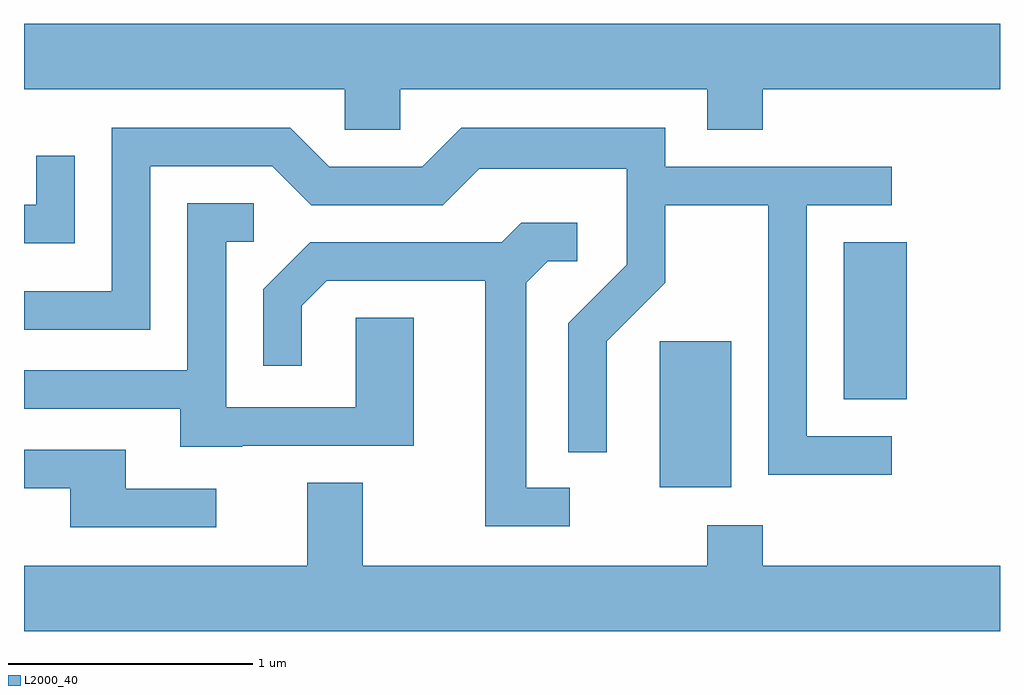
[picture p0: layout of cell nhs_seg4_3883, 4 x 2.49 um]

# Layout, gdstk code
import gdstk
lib = gdstk.Library(unit=1e-6, precision=1e-09)
def R(c, l, rs):  # rectangles x0, y0, x1, y1
    for r in rs: c.add(gdstk.rectangle(r[:2], r[2:], *l))
def P(c, l, *ps):  # polygons
    for p in ps: c.add(gdstk.Polygon(p, *l))
L2000_40 = (2000, 40)

nhs_seg4_3883 = lib.new_cell('nhs_seg4_3883')
R(nhs_seg4_3883, L2000_40, [(302.216,1268.686,302.509,1269.284), (302.971,1269.046,303.229,1269.689)])
P(nhs_seg4_3883, L2000_40, [(301.154,1270.316),(302.411,1270.316),(302.411,1270.151),(302.639,1270.151),(302.639,1270.316),(303.611,1270.316),(303.611,1270.584),(299.611,1270.584),(299.611,1270.316),(300.926,1270.316),(300.926,1270.151),(301.154,1270.151)],
  [(303.168,1268.894),(302.819,1268.894),(302.819,1269.841),(303.168,1269.841),(303.168,1269.999),(302.239,1269.999),(302.239,1270.159),(301.404,1270.159),(301.244,1269.999),(300.862,1269.999),(300.702,1270.159),(299.971,1270.159),(299.971,1269.489),(299.611,1269.489),(299.611,1269.331),(300.129,1269.331),(300.129,1270.001),(300.629,1270.001),(300.789,1269.841),(301.327,1269.841),(301.477,1269.991),(302.081,1269.991),(302.081,1269.597),(301.841,1269.357),(301.841,1268.828),(301.999,1268.828),(301.999,1269.284),(302.239,1269.524),(302.239,1269.841),(302.661,1269.841),(302.661,1268.736),(303.168,1268.736)],
  [(299.819,1270.043),(299.661,1270.043),(299.661,1269.844),(299.611,1269.844),(299.611,1269.686),(299.819,1269.686)],
  [(300.505,1268.856),(301.209,1268.856),(301.209,1269.379),(300.971,1269.379),(300.971,1269.014),(300.439,1269.014),(300.439,1269.691),(300.553,1269.691),(300.553,1269.849),(300.281,1269.849),(300.281,1269.164),(299.611,1269.164),(299.611,1269.006),(300.251,1269.006),(300.251,1268.851),(300.505,1268.851)],
  [(301.848,1268.684),(301.669,1268.684),(301.669,1269.524),(301.757,1269.611),(301.878,1269.611),(301.878,1269.769),(301.649,1269.769),(301.569,1269.689),(300.784,1269.689),(300.591,1269.497),(300.591,1269.183),(300.749,1269.183),(300.749,1269.429),(300.852,1269.531),(301.501,1269.531),(301.501,1268.526),(301.848,1268.526)],
  [(300.398,1268.679),(300.029,1268.679),(300.029,1268.839),(299.611,1268.839),(299.611,1268.681),(299.801,1268.681),(299.801,1268.521),(300.398,1268.521)],
  [(303.611,1268.364),(302.639,1268.364),(302.639,1268.529),(302.411,1268.529),(302.411,1268.364),(300.999,1268.364),(300.999,1268.704),(300.771,1268.704),(300.771,1268.364),(299.611,1268.364),(299.611,1268.096),(303.611,1268.096)])

lib.write_gds('nhs_seg4_3883.gds')
